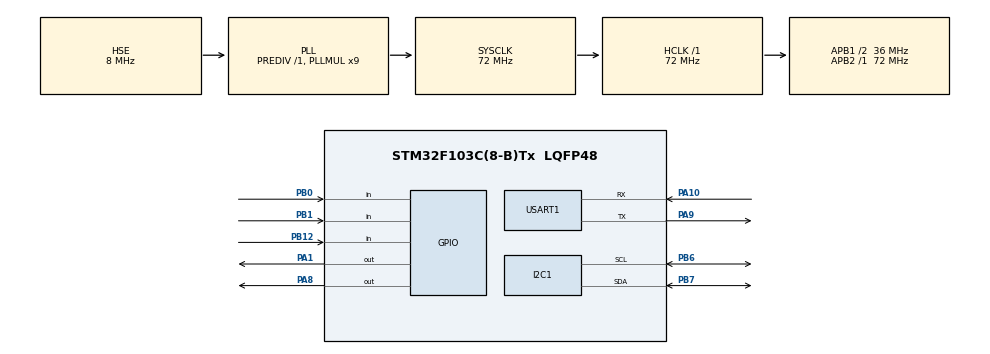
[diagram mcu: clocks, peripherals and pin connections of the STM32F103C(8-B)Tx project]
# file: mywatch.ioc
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FREERTOS.Tasks01=defaultTask,24,128,StartDefaultTask,Default,NULL,Dynamic,NULL,NULL
FREERTOS.configTIMER_TASK_PRIORITY=25
FREERTOS.configTOTAL_HEAP_SIZE=10240
FREERTOS.configUSE_IDLE_HOOK=1
FREERTOS.configUSE_STATS_FORMATTING_FUNCTIONS=1
I2C1.I2C_Mode=I2C_Fast
Mcu.Family=STM32F1
Mcu.Name=STM32F103C(8-B)Tx
Mcu.Package=LQFP48
NVIC.PriorityGroup=NVIC_PRIORITYGROUP_4
NVIC.TIM2_IRQn=true\:5\:0\:false\:false\:true\:true\:true\:true\:true
NVIC.TIM4_IRQn=true\:15\:0\:false\:false\:true\:false\:false\:true\:true
NVIC.TimeBase=TIM4_IRQn
NVIC.TimeBaseIP=TIM4
PA1.GPIO_ModeDefaultOutputPP=GPIO_MODE_OUTPUT_OD
PA1.GPIO_PuPd=GPIO_PULLUP
PA1.Signal=GPIO_Output
PA10.Mode=Asynchronous
PA10.Signal=USART1_RX
PA13.Mode=Serial_Wire
PA13.Signal=SYS_JTMS-SWDIO
PA14.Mode=Serial_Wire
PA14.Signal=SYS_JTCK-SWCLK
PA8.GPIO_ModeDefaultOutputPP=GPIO_MODE_OUTPUT_PP
PA8.GPIO_PuPd=GPIO_NOPULL
PA8.Signal=GPIO_Output
PA9.Mode=Asynchronous
PA9.Signal=USART1_TX
PB0.GPIO_PuPd=GPIO_PULLUP
PB0.Signal=GPIO_Input
PB1.GPIO_PuPd=GPIO_PULLUP
PB1.Signal=GPIO_Input
PB12.GPIO_PuPd=GPIO_PULLUP
PB12.Signal=GPIO_Input
PB6.Mode=I2C
PB6.Signal=I2C1_SCL
PB7.Mode=I2C
PB7.Signal=I2C1_SDA
PD0-OSC_IN.Mode=HSE-External-Oscillator
PD0-OSC_IN.Signal=RCC_OSC_IN
PD1-OSC_OUT.Mode=HSE-External-Oscillator
PD1-OSC_OUT.Signal=RCC_OSC_OUT
ProjectManager.HeapSize=0x200
ProjectManager.StackSize=0x400
ProjectManager.TargetToolchain=MDK-ARM V5.32
RCC.AHBFreq_Value=72000000
RCC.APB1CLKDivider=RCC_HCLK_DIV2
RCC.APB1Freq_Value=36000000
RCC.APB1TimFreq_Value=72000000
RCC.APB2Freq_Value=72000000
RCC.APB2TimFreq_Value=72000000
RCC.HCLKFreq_Value=72000000
RCC.PLLMUL=RCC_PLL_MUL9
RCC.PLLSourceVirtual=RCC_PLLSOURCE_HSE
RCC.SYSCLKFreq_VALUE=72000000
RCC.SYSCLKSource=RCC_SYSCLKSOURCE_PLLCLK
RCC.USBFreq_Value=72000000
TIM2.Period=1000-1
TIM2.Prescaler=72-1
USART1.VirtualMode=VM_ASYNC
VP_FREERTOS_VS_CMSIS_V2.Mode=CMSIS_V2
VP_SYS_VS_tim4.Mode=TIM4
VP_TIM2_VS_ClockSourceINT.Mode=Internal
board=custom

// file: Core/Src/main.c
/* USER CODE BEGIN Header */
/**
  ******************************************************************************
  * @file           : main.c
  * @brief          : Main program body
  ******************************************************************************
  * @attention
  *
  * Copyright (c) 2026 STMicroelectronics.
  * All rights reserved.
  *
  * This software is licensed under terms that can be found in the LICENSE file
  * in the root directory of this software component.
  * If no LICENSE file comes with this software, it is provided AS-IS.
  *
  ******************************************************************************
  */
/* USER CODE END Header */
#include "main.h"
#include "cmsis_os.h"
#include "i2c.h"
#include "tim.h"
#include "usart.h"
#include "gpio.h"

/* USER CODE BEGIN Includes */
#include "beep.h"
#include "FreeRTOS.h"
#include "task.h"
#include "queue.h"
#include "semphr.h"
#include "event_groups.h"
#include "data.h"
#include "ShowTimeTask.h"
#include "keydata.h"
#include "stdio.h"
#include "string.h"
/* USER CODE END Includes */

void SystemClock_Config(void);
void MX_FREERTOS_Init(void);
/* USER CODE BEGIN PFP */
extern void Hal_readGPIO(uint8_t *a_pin,uint8_t *b_pin);
/* USER CODE END PFP */

/* USER CODE BEGIN 0 */
// volatile int8_t ex_cnt=0;
/* USER CODE END 0 */

int main(void)
{

  /* MCU Configuration--------------------------------------------------------*/

  /* Reset of all peripherals, Initializes the Flash interface and the Systick. */
  HAL_Init();

  /* Configure the system clock */
  SystemClock_Config();

  /* Initialize all configured peripherals */
  MX_GPIO_Init();
  MX_I2C1_Init();
  MX_USART1_UART_Init();
  MX_TIM2_Init();
  /* USER CODE BEGIN 2 */
  buzzer_init();
  HAL_TIM_Base_Start_IT(&htim2);
  /* USER CODE END 2 */

  /* Init scheduler */
  osKernelInitialize();

  /* Call init function for freertos objects (in cmsis_os2.c) */
  MX_FREERTOS_Init();

  /* Start scheduler */
  osKernelStart();

  /* We should never get here as control is now taken by the scheduler */

  /* Infinite loop */
  while (1)
  {

  }
}

void SystemClock_Config(void)
{
  RCC_OscInitTypeDef RCC_OscInitStruct = {0};
  RCC_ClkInitTypeDef RCC_ClkInitStruct = {0};

  /** Initializes the RCC Oscillators according to the specified parameters
  * in the RCC_OscInitTypeDef structure.
  */
  RCC_OscInitStruct.OscillatorType = RCC_OSCILLATORTYPE_HSE;
  RCC_OscInitStruct.HSEState = RCC_HSE_ON;
  RCC_OscInitStruct.HSEPredivValue = RCC_HSE_PREDIV_DIV1;
  RCC_OscInitStruct.HSIState = RCC_HSI_ON;
  RCC_OscInitStruct.PLL.PLLState = RCC_PLL_ON;
  RCC_OscInitStruct.PLL.PLLSource = RCC_PLLSOURCE_HSE;
  RCC_OscInitStruct.PLL.PLLMUL = RCC_PLL_MUL9;
  if (HAL_RCC_OscConfig(&RCC_OscInitStruct) != HAL_OK)
  {
    Error_Handler();
  }

  /** Initializes the CPU, AHB and APB buses clocks
  */
  RCC_ClkInitStruct.ClockType = RCC_CLOCKTYPE_HCLK|RCC_CLOCKTYPE_SYSCLK
                              |RCC_CLOCKTYPE_PCLK1|RCC_CLOCKTYPE_PCLK2;
  RCC_ClkInitStruct.SYSCLKSource = RCC_SYSCLKSOURCE_PLLCLK;
  RCC_ClkInitStruct.AHBCLKDivider = RCC_SYSCLK_DIV1;
  RCC_ClkInitStruct.APB1CLKDivider = RCC_HCLK_DIV2;
  RCC_ClkInitStruct.APB2CLKDivider = RCC_HCLK_DIV1;

  if (HAL_RCC_ClockConfig(&RCC_ClkInitStruct, FLASH_LATENCY_2) != HAL_OK)
  {
    Error_Handler();
  }
}

/* USER CODE BEGIN 4 */
  extern volatile int8_t ex_cnt;
/* USER CODE END 4 */

void HAL_TIM_PeriodElapsedCallback(TIM_HandleTypeDef *htim)
{
  if (htim->Instance == TIM4) {
    HAL_IncTick();
  }
  /* USER CODE BEGIN Callback 1 */
  if(htim->Instance == TIM2)
  {
          key_tick();
        uint8_t a_now, b_now;
        Hal_readGPIO(&a_now,&b_now);

        static uint8_t a_old = 0;
        static uint8_t b_old = 0;
        if(a_now)
        {
          if(b_now!=b_old)
          {
             ex_cnt+=b_now?1:-1;
             b_old=b_now;
          }

        }
        else
          {
            if(b_now!=b_old)
            {
              ex_cnt+=b_now?-1:1;
              b_old=b_now;
            }
          }
       if(b_now)
        {
          if(a_now!=a_old)
          {
            ex_cnt+=a_now?-1:1;
            a_old=a_now;
          }
        }
        else
          {
            if(a_now!=a_old)
            {
              ex_cnt+=a_now?1:-1;
              a_old=a_now;
            }
          }
    }
  /* USER CODE END Callback 1 */
}

void Error_Handler(void)
{
  __disable_irq();
  while (1)
  {
  }
}

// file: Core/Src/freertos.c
/* USER CODE BEGIN Header */
/**
  ******************************************************************************
  * File Name          : freertos.c
  * Description        : Code for freertos applications
  ******************************************************************************
  * @attention
  *
  * Copyright (c) 2026 STMicroelectronics.
  * All rights reserved.
  *
  * This software is licensed under terms that can be found in the LICENSE file
  * in the root directory of this software component.
  * If no LICENSE file comes with this software, it is provided AS-IS.
  *
  ******************************************************************************
  */
/* USER CODE END Header */

#include "FreeRTOS.h"
#include "task.h"
#include "main.h"
#include "cmsis_os.h"

/* USER CODE BEGIN Includes */
#include "ShowTimeTask.h"
#include "timers.h"
#include "keydata.h"
#include "stdio.h"
#include "data.h"
#include "queue.h"
#include "ShowClock.h"
/* USER CODE END Includes */

/* Definitions for defaultTask */
osThreadId_t defaultTaskHandle;
const osThreadAttr_t defaultTask_attributes = {
  .name = "defaultTask",
  .stack_size = 128 * 4,
  .priority = (osPriority_t) osPriorityNormal,
};

/* USER CODE BEGIN FunctionPrototypes */
TaskHandle_t xShowTimeTaskHandle;
extern void getquene(void *params);

extern void ShowTimeTask(void *params);
TaskHandle_t xGetQueneTaskHandle;
TaskHandle_t xShowClockTaskHandle;
TaskHandle_t xShowMenuTaskHandle;
TaskHandle_t xkey_taskHandle;
TaskHandle_t xShowSettingTaskHandle;
TaskHandle_t xShowDHT11TaskHandle;
TaskHandle_t xShowFlashLightTaskHandle;
TaskHandle_t xShowCalendarTaskHandle;
TimerHandle_t g_Timer;
TimerHandle_t g_Clock_Timer;
extern  Keydata key_data;
extern void key_task(void *params);
extern void ShowMenuTask(void *params);
extern void ShowClockTimeTask(void *params);
extern void ShowSetting_Task(void *params);
extern void ShowDHT11Task(void *params);
extern void ShowFlashLightTask(void *params);
extern void ShowCalendarTask(void *params);
// extern void ClockTimerCallBackFun(TimerHandle_t xTimer);
/* USER CODE END FunctionPrototypes */

void StartDefaultTask(void *argument);

void MX_FREERTOS_Init(void); /* (MISRA C 2004 rule 8.1) */

/* Hook prototypes */
void vApplicationIdleHook(void);

/* USER CODE BEGIN 2 */
void vApplicationIdleHook( void )
{

}
/* USER CODE END 2 */

void MX_FREERTOS_Init(void) {

  /* USER CODE BEGIN RTOS_TIMERS */
    g_Timer = xTimerCreate("Timer1",
				1000,
				pdTRUE,
				NULL,
				(TimerCallbackFunction_t)TimerCallBackFun);
    g_Clock_Timer = xTimerCreate("Timer2",
				100,
				pdTRUE,
				NULL,
				(TimerCallbackFunction_t)ClockTimerCallBackFun);
  /* start timers, add new ones, ... */
  /* USER CODE END RTOS_TIMERS */

  /* Create the thread(s) */
  /* creation of defaultTask */
  defaultTaskHandle = osThreadNew(StartDefaultTask, NULL, &defaultTask_attributes);

  /* USER CODE BEGIN RTOS_THREADS */

  xTaskCreate(getquene, "getquene", 80, NULL, osPriorityNormal-1, &xGetQueneTaskHandle);
  xTaskCreate(key_task, "key",80, NULL, osPriorityNormal, &xkey_taskHandle);
  xTaskCreate(ShowTimeTask, "showtime", 128, NULL, osPriorityNormal, &xShowTimeTaskHandle);
  xTaskCreate(ShowMenuTask, "showmenu", 108, NULL, osPriorityNormal, &xShowMenuTaskHandle);
  xTaskCreate(ShowClockTimeTask, "showclock", 90, NULL, osPriorityNormal, &xShowClockTaskHandle);
  xTaskCreate(ShowSetting_Task, "showsetting", 256, NULL, osPriorityNormal, &xShowSettingTaskHandle);
  xTaskCreate(ShowDHT11Task, "showdht11", 70, NULL, osPriorityNormal, &xShowDHT11TaskHandle);
  xTaskCreate(ShowFlashLightTask, "showflashlight", 70, NULL, osPriorityNormal, &xShowFlashLightTaskHandle);
  xTaskCreate(ShowCalendarTask, "showcalendar", 256, NULL, osPriorityNormal, &xShowCalendarTaskHandle);
  /* add threads, ... */
  /* USER CODE END RTOS_THREADS */

}

void StartDefaultTask(void *argument)
{
  for(;;)
  {
    osDelay(1);
  }
}

/* USER CODE BEGIN Application */
void Hal_readGPIO(uint8_t *a_pin,uint8_t *b_pin)
{
  *a_pin=HAL_GPIO_ReadPin(GPIOB, GPIO_PIN_12);
  *b_pin=HAL_GPIO_ReadPin(GPIOB, GPIO_PIN_0);
}
// volatile int8_t ex_cnt=0;
// void HAL_TIM_PeriodElapsedCallback(TIM_HandleTypeDef *htim)
// {

// }
volatile int8_t ex_cnt=0;
// void HAL_GPIO_EXTI_Callback(uint16_t GPIO_Pin)
// {
// 	if(GPIO_Pin == GPIO_PIN_12)
//   {
//     // printf("进入中断");
//     uint8_t b_pin=HAL_GPIO_ReadPin(GPIOB, GPIO_PIN_0);
//     if(b_pin==1)
//     {
//        ex_cnt--;
//     }
//     else
//     {
//       ex_cnt++;
//     }
//   }
// }

// static  char pcWriteBuffer[200];

// {
//   vTaskList(pcWriteBuffer);
//   uint8_t i=0;
//   for(i=0; i<16; i++)
//   {
//     printf("%s\r\n",pcWriteBuffer);
//   }

// }
/* USER CODE END Application */
